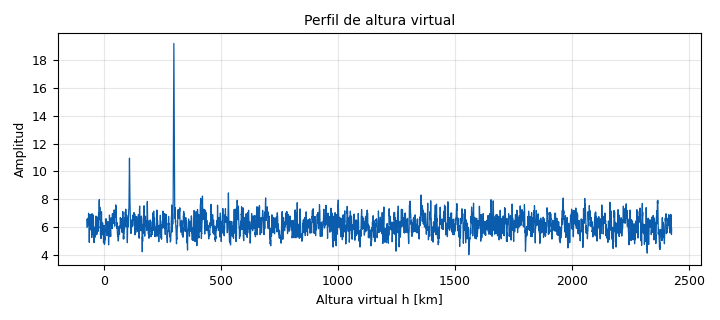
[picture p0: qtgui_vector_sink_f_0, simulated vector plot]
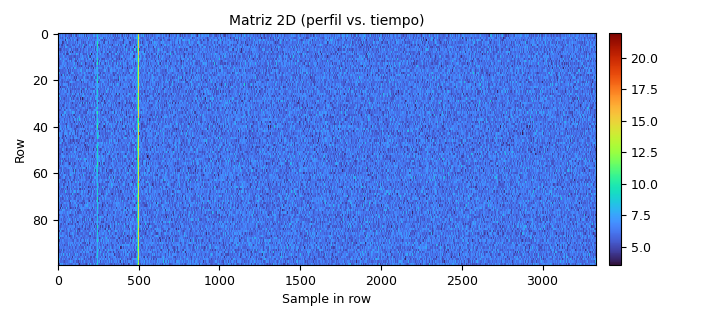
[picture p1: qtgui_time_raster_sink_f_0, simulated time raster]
options:
  parameters:
    author: Juanjo
    description: 'Receptor de sondador ionosferico: Golay 16 bits + QCC (Red Pitaya SDRlab 122-16)'
    generate_options: qt_gui
    id: ionosonde_rx_sim
    output_language: python
    title: Sondador ionosferico - Receptor Golay/QCC (SIMULACION)
  states: {}

blocks:
- name: samp_rate
  id: variable
  parameters:
    comment: Frecuencia de muestreo en banda base (DDC en la FPGA)
    value: '200000'
  states: {}
- name: prf
  id: variable
  parameters:
    comment: Frecuencia de repeticion de pulso [Hz]
    value: '60'
  states: {}
- name: n_vec
  id: variable
  parameters:
    comment: |-
      Muestras por PRT = 3333.
      200000/60 = 3333.33 -> deriva 1/3 muestra por disparo.
    value: int(samp_rate // prf)
  states: {}
- name: spb
  id: variable
  parameters:
    comment: Muestras por chip (30 us x 200 kS/s)
    value: '6'
  states: {}
- name: K
  id: variable
  parameters:
    comment: Parejas A/B integradas
    value: '25'
  states: {}
- name: c
  id: variable
  parameters:
    value: '299792458.0'
  states: {}
- name: dh_km
  id: variable
  parameters:
    comment: Altura por muestra = 0.75 km (h' = c t / 2)
    value: c / (2.0 * samp_rate) / 1000.0
  states: {}
- name: code_A
  id: variable
  parameters:
    value: '[1, 1, 1, -1, 1, 1, -1, 1, 1, 1, 1, -1, -1, -1, 1, -1]'
  states: {}
- name: code_B
  id: variable
  parameters:
    value: '[1, 1, 1, -1, 1, 1, -1, 1, -1, -1, -1, 1, 1, 1, -1, 1]'
  states: {}
- name: taps_A
  id: variable
  parameters:
    comment: 'Filtro adaptado A: codigo invertido y sobremuestreado x6'
    value: np.repeat(code_B if swap_ab else code_A, spb)[::-1].astype(complex).tolist()
  states: {}
- name: taps_B
  id: variable
  parameters:
    comment: Filtro adaptado B
    value: np.repeat(code_A if swap_ab else code_B, spb)[::-1].astype(complex).tolist()
  states: {}
- name: rp_uri
  id: variable
  parameters:
    comment: URI libiio de la Red Pitaya (iiod)
    value: '''ip:192.168.1.100'''
  states: {}
- name: rp_device
  id: variable
  parameters:
    comment: |-
      Nombre del dispositivo IIO del ADC.
      Verificar con: iio_info -u ip:192.168.1.100
    value: '''rp-adc'''
  states: {}
- name: zmq_addr
  id: variable
  parameters:
    value: '''tcp://127.0.0.1:5555'''
  states: {}
- name: swap_ab
  id: variable_qtgui_check_box
  parameters:
    comment: |-
      Marcar si la rama A esta recibiendo los disparos B
      (el demux arranca en la fase equivocada).
    label: '''Intercambiar A/B'''
    type: int
    value: '0'
    'true': '1'
    'false': '0'
    gui_hint: 0,0,1,1
  states: {}
- name: import_0
  id: import
  parameters:
    imports: import numpy as np
  states: {}
- name: h_E
  id: variable
  parameters:
    comment: Altura virtual eco capa E [km]
    value: '110'
  states: {}
- name: h_F
  id: variable
  parameters:
    comment: Altura virtual eco capa F [km]
    value: '300'
  states: {}
- name: noise_amp
  id: variable
  parameters:
    comment: Desvio del ruido (por muestra)
    value: '0.5'
  states: {}
- name: sim_sig
  id: variable
  parameters:
    comment: Dos disparos (A y B) con ecos E y F, repetidos indefinidamente
    value: np.concatenate([np.roll(np.pad(np.repeat(cd, spb), (0, n_vec - 16 * spb)).astype(complex), int(round(h_E / dh_km))) * 0.05 + np.roll(np.pad(np.repeat(cd, spb), (0, n_vec - 16 * spb)).astype(complex), int(round(h_F / dh_km))) * 0.1 * np.exp(1j * 0.7) for cd in (code_A, code_B)]).tolist()
  states: {}
- name: blocks_vector_source_x_0
  id: blocks_vector_source_x
  parameters:
    type: complex
    vector: sim_sig
    repeat: 'True'
  states: {}
- name: analog_noise_source_x_0
  id: analog_noise_source_x
  parameters:
    type: complex
    noise_type: analog.GR_GAUSSIAN
    amp: noise_amp
    seed: '0'
  states: {}
- name: blocks_add_xx_sim
  id: blocks_add_xx
  parameters:
    type: complex
  states: {}
- name: blocks_throttle_0
  id: blocks_throttle2
  parameters:
    type: complex
    samples_per_second: samp_rate
  states: {}
- name: blocks_deinterleave_0
  id: blocks_deinterleave
  parameters:
    comment: |-
      Segmentacion por PRT + selector Golay:
      bloque par -> A, bloque impar -> B
    type: complex
    blocksize: n_vec
  states: {}
- name: filter_fir_filter_A
  id: fir_filter_xxx
  parameters:
    comment: Correlador A
    type: ccc
    decim: '1'
    taps: taps_A
  states: {}
- name: filter_fir_filter_B
  id: fir_filter_xxx
  parameters:
    comment: Correlador B
    type: ccc
    decim: '1'
    taps: taps_B
  states: {}
- name: blocks_stream_to_vector_A
  id: blocks_stream_to_vector
  parameters:
    type: complex
    num_items: n_vec
  states: {}
- name: blocks_stream_to_vector_B
  id: blocks_stream_to_vector
  parameters:
    type: complex
    num_items: n_vec
  states: {}
- name: blocks_add_xx_0
  id: blocks_add_xx
  parameters:
    comment: 'Suma complementaria QCC: A + B'
    type: complex
    vlen: n_vec
  states: {}
- name: blocks_complex_to_mag_0
  id: blocks_complex_to_mag
  parameters:
    comment: Envolvente |Z|
    vlen: n_vec
  states: {}
- name: blocks_integrate_xx_0
  id: blocks_integrate_xx
  parameters:
    comment: Suma de K perfiles
    type: float
    decim: K
    vlen: n_vec
  states: {}
- name: blocks_multiply_const_vxx_0
  id: blocks_multiply_const_vxx
  parameters:
    comment: Promedio (/K)
    type: float
    const: '[1.0 / K] * n_vec'
    vlen: n_vec
  states: {}
- name: zeromq_pub_sink_0
  id: zeromq_pub_sink
  parameters:
    comment: Perfil promediado hacia ionogram_gui.py
    type: float
    vlen: n_vec
    address: zmq_addr
    timeout: '100'
    key: ''''''
  states: {}
- name: qtgui_vector_sink_f_0
  id: qtgui_vector_sink_f
  parameters:
    vlen: n_vec
    vecsize: n_vec
    name: '''Perfil de altura virtual'''
    x_start: '-(16 * spb - 1) * dh_km'
    x_step: dh_km
    x_axis_label: '''Altura virtual h [km]'''
    x_units: '''km'''
    y_axis_label: '''Amplitud'''
    y_units: ''''''
    ymin: '0'
    ymax: '1'
    autoscale: 'True'
    grid: 'True'
    gui_hint: 1,0,1,2
  states: {}
- name: blocks_vector_to_stream_0
  id: blocks_vector_to_stream
  parameters:
    type: float
    num_items: n_vec
  states: {}
- name: qtgui_time_raster_sink_f_0
  id: qtgui_time_raster_sink_x
  parameters:
    type: float
    x_start_value: '-(16 * spb - 1) * dh_km'
    x_end_value: (n_vec - 16 * spb + 1) * dh_km
    y_start_value: '0'
    y_end_value: '100'
    samp_rate: samp_rate
    nrows: '100'
    ncols: n_vec
    name: '''Matriz 2D (perfil vs. tiempo)'''
    zmin: '0'
    x_label: '''Altura virtual h [km]'''
    y_label: '''Perfil'''
    gui_hint: 2,0,1,2
  states: {}

connections:
- [blocks_vector_source_x_0, '0', blocks_add_xx_sim, '0']
- [analog_noise_source_x_0, '0', blocks_add_xx_sim, '1']
- [blocks_add_xx_sim, '0', blocks_throttle_0, '0']
- [blocks_throttle_0, '0', blocks_deinterleave_0, '0']
- [blocks_deinterleave_0, '0', filter_fir_filter_A, '0']
- [blocks_deinterleave_0, '1', filter_fir_filter_B, '0']
- [filter_fir_filter_A, '0', blocks_stream_to_vector_A, '0']
- [filter_fir_filter_B, '0', blocks_stream_to_vector_B, '0']
- [blocks_stream_to_vector_A, '0', blocks_add_xx_0, '0']
- [blocks_stream_to_vector_B, '0', blocks_add_xx_0, '1']
- [blocks_add_xx_0, '0', blocks_complex_to_mag_0, '0']
- [blocks_complex_to_mag_0, '0', blocks_integrate_xx_0, '0']
- [blocks_integrate_xx_0, '0', blocks_multiply_const_vxx_0, '0']
- [blocks_multiply_const_vxx_0, '0', zeromq_pub_sink_0, '0']
- [blocks_multiply_const_vxx_0, '0', qtgui_vector_sink_f_0, '0']
- [blocks_multiply_const_vxx_0, '0', blocks_vector_to_stream_0, '0']
- [blocks_vector_to_stream_0, '0', qtgui_time_raster_sink_f_0, '0']

metadata:
  file_format: 1
  grc_version: 3.10.9.2
